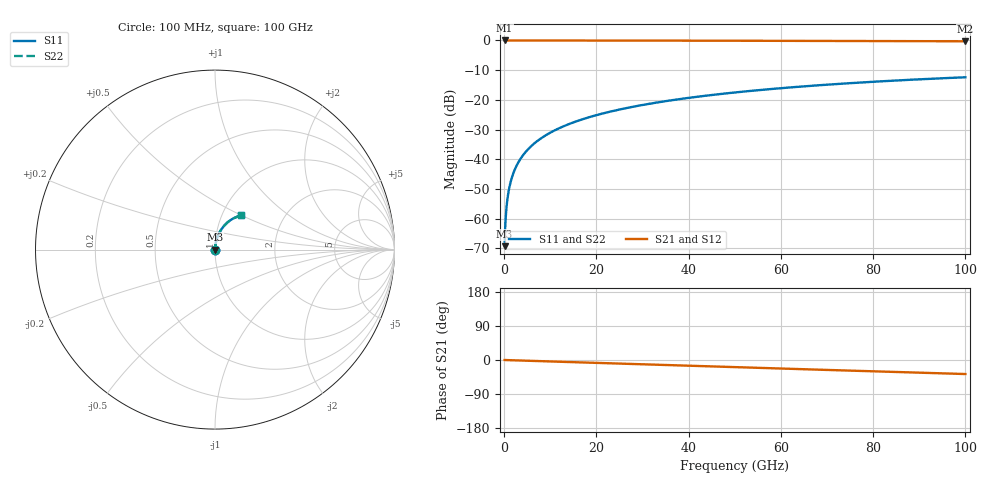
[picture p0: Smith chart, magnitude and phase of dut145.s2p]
! Touchstone file exported from HFSS 2026.1.0
!  File:  C:/ffzhzh/LocalFiles/Ansys_Project_Files/temp_train_TSV_145_1783506504_44152.aedt
!  Generated:  06:29:45 PM Jul  8, 2026
!  Design:  TSV
!  Project:  temp_train_TSV_145_1783506504_44152
! Variables:
!  h_bsmrdl = 2um
!  h_ox = 20um
!  h_rdl = 5um
!  h_sub = 61.84um
!  h_tmrdl = 5um
!  h_tsv = 61.84um
!  h_via = 3um
!  l_bsmrdl = 300um
!  l_sub = 416.04um
!  l_tmrdl = 200um
!  m_sub = 200um
!  pitch = 57.04um
!  r_tsv = 8.02um
!  s_tmrdl = 10um
!  w_bsmrdl = 18um
!  w_sub = 500um
!  w_tmrdl = 12um
!  x_tsv_center1 = 206um
!  x_tsv_center2 = 524um
!  x_tsv_center3 = 736um
!  x_tsv_center4 = 1054um
!  x_tsv_center5 = 1266um
!  x_tsv_center6 = 1584um
# GHz S MA R 50.000000
! Terminal data exported
! Port[1] = TSV1_1_T1
! Port[2] = TSV1_1_T2
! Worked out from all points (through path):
!   1000 points, 100 MHz to 100 GHz, reference 50 ohm
!   highest |S21| = 0.00 dB at 100 MHz (marker M1); lowest = -0.3 dB at 100 GHz (marker M2)
!   group delay of S21, straight-line fit = 1.03 ps
!   lowest |S11| = -69.3 dB at 100 MHz (marker M3), VSWR 1.00, Z = 50 + j0.0311 ohm
!   |S11| at or under -10 dB: start of sweep to end of sweep
!   |S22| runs from -69.3 to -12.4 dB; largest |S21 - S12| = 5.4e-15
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0.1  0.0003426 65.1  0.9999 -0.0  0.9999 -0.0  0.0003426 65.1
! Gamma 0 0 0 0
! Port Impedance 50 0 50 0
0.3  0.0009358 79.6  0.9998 -0.1  0.9998 -0.1  0.0009358 79.6
0.7  0.002106 83.7  0.9998 -0.3  0.9998 -0.3  0.002106 83.7
0.8  0.002395 84.1  0.9998 -0.3  0.9998 -0.3  0.002395 84.1
1  0.00297 84.7  0.9997 -0.4  0.9997 -0.4  0.00297 84.7
1.3  0.00383 85.2  0.9997 -0.5  0.9997 -0.5  0.00383 85.2
1.7  0.00497 85.5  0.9997 -0.7  0.9997 -0.7  0.00497 85.5
2.3  0.006665 85.8  0.9996 -0.9  0.9996 -0.9  0.006665 85.8
3  0.008626 85.8  0.9995 -1.2  0.9995 -1.2  0.008626 85.8
3.8  0.01085 85.8  0.9994 -1.5  0.9994 -1.5  0.01085 85.8
4.8  0.01363 85.7  0.9993 -1.8  0.9993 -1.8  0.01363 85.7
6  0.01695 85.5  0.9992 -2.3  0.9992 -2.3  0.01695 85.6
8.8  0.02467 84.8  0.9989 -3.4  0.9989 -3.4  0.02467 84.8
12.4  0.03454 83.7  0.9985 -4.7  0.9985 -4.7  0.03454 83.7
16.8  0.04652 82.3  0.9978 -6.4  0.9978 -6.4  0.04652 82.3
24.2  0.06646 79.7  0.9965 -9.2  0.9965 -9.2  0.06646 79.7
33.4  0.09079 76.4  0.9943 -12.6  0.9943 -12.6  0.09079 76.4
41.2  0.1109 73.6  0.9921 -15.6  0.9921 -15.6  0.1109 73.6
50.1  0.1332 70.3  0.9892 -18.9  0.9892 -18.9  0.1332 70.4
66.7  0.1725 64.3  0.9829 -25.0  0.9829 -25.0  0.1725 64.4
83.4  0.2084 58.3  0.9757 -31.1  0.9757 -31.1  0.2084 58.4
100  0.2398 52.4  0.9682 -37.0  0.9682 -37.0  0.2398 52.5
